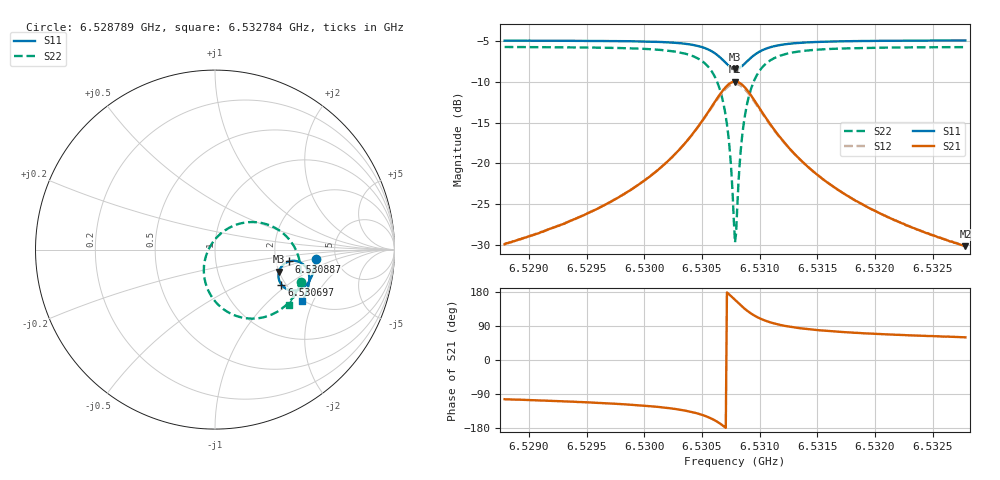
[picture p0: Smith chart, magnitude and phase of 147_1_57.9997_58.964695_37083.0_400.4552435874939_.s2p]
#  HZ  S  RI  R  50.00
! Rohde & Schwarz Vector Network Analyzer
! Rohde-Schwarz,ZNB20-2Port,1311601062101988,3.16
! Created: UTC 3/21/2024, 12:56:52 AM
! freq[Hz]  re:S11  im:S11  re:S21  im:S21  re:S12  im:S12  re:S22  im:S22
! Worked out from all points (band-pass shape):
!   401 points, 6.528789 GHz to 6.532784 GHz, reference 50 ohm
!   highest |S21| = -9.99 dB at 6.530787 GHz (marker M1); lowest = -30.1 dB at 6.532784 GHz (marker M2)
!   |S21| within 3 dB of the highest: 6.530588 GHz to 6.530987 GHz (399.4 kHz wide, 0.00612 % of centre)
!   lowest |S11| = -8.5 dB at 6.530787 GHz (marker M3), VSWR 2.21, Z = 99.9 - j28.7 ohm
!   |S11| at or under -10 dB: nowhere
!   |S22| runs from -29.7 to -5.8 dB; largest |S21 - S12| = 0.013
!   S11 on the Smith chart (normalised r, x): 6.528789 GHz: 3.49, -0.54; 6.530697 GHz: 1.90, -0.90; 6.530887 GHz: 2.36, -0.38; 6.532784 GHz: 1.96, -1.66
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6.5287891e9  0.5606 -0.0524  -0.00746 -0.0311  -0.00829 -0.0311  0.4816 -0.1826
6.5294583e9  0.5512 -0.1088  -0.0172 -0.0445  -0.0182 -0.0441  0.4492 -0.2452
6.5298278e9  0.5406 -0.144  -0.0294 -0.0579  -0.0311 -0.0575  0.4162 -0.2893
6.5301275e9  0.5242 -0.1773  -0.0518 -0.0764  -0.054 -0.0749  0.3649 -0.3344
6.5303572e9  0.4971 -0.2078  -0.0925 -0.0966  -0.0956 -0.0934  0.2816 -0.3742
6.530527e9  0.4527 -0.2278  -0.1627 -0.1037  -0.1652 -0.0968  0.152 -0.3788
6.5306268e9  0.4065 -0.2229  -0.2345 -0.0768  -0.2337 -0.0667  0.0319 -0.3197
6.5306968e9  0.3701 -0.195  -0.2876 -0.0166  -0.2814 -0.00615  -0.0459 -0.2081
6.5307367e9  0.3562 -0.1665  -0.3044 0.0378  -0.2948 0.0465  -0.0623 -0.1147
6.5307767e9  0.3546 -0.1319  -0.2997 0.1001  -0.2881 0.105  -0.0423 -0.0135
6.5307866e9  0.3565 -0.1231  -0.2947 0.1154  -0.2829 0.1193  -0.031 0.0107
6.5307966e9  0.3594 -0.1146  -0.2881 0.1303  -0.2764 0.1329  -0.0173 0.0335
6.5308066e9  0.3631 -0.1066  -0.2801 0.1442  -0.2686 0.1459  -0.00173 0.0547
6.5308266e9  0.3727 -0.092  -0.2606 0.1689  -0.2499 0.1689  0.0349 0.0917
6.5308466e9  0.3848 -0.0803  -0.2376 0.1891  -0.2278 0.1875  0.0764 0.12
6.5308865e9  0.4124 -0.0658  -0.1874 0.2132  -0.1801 0.2099  0.1637 0.1502
6.5309564e9  0.4568 -0.0647  -0.1096 0.2158  -0.106 0.2124  0.2944 0.1389
6.5310563e9  0.4961 -0.0865  -0.0427 0.184  -0.0408 0.1822  0.4025 0.0692
6.5312061e9  0.5193 -0.1224  -0.00206 0.1363  -0.00075 0.1355  0.4615 -0.0289
6.5314558e9  0.5257 -0.1663  0.0155 0.0891  0.0165 0.0889  0.4763 -0.1286
6.532125e9  0.5096 -0.2374  0.0178 0.043  0.0187 0.0425  0.4477 -0.2461
6.5327842e9  0.4856 -0.2884  0.0157 0.0269  0.0161 0.0268  0.4135 -0.3059
